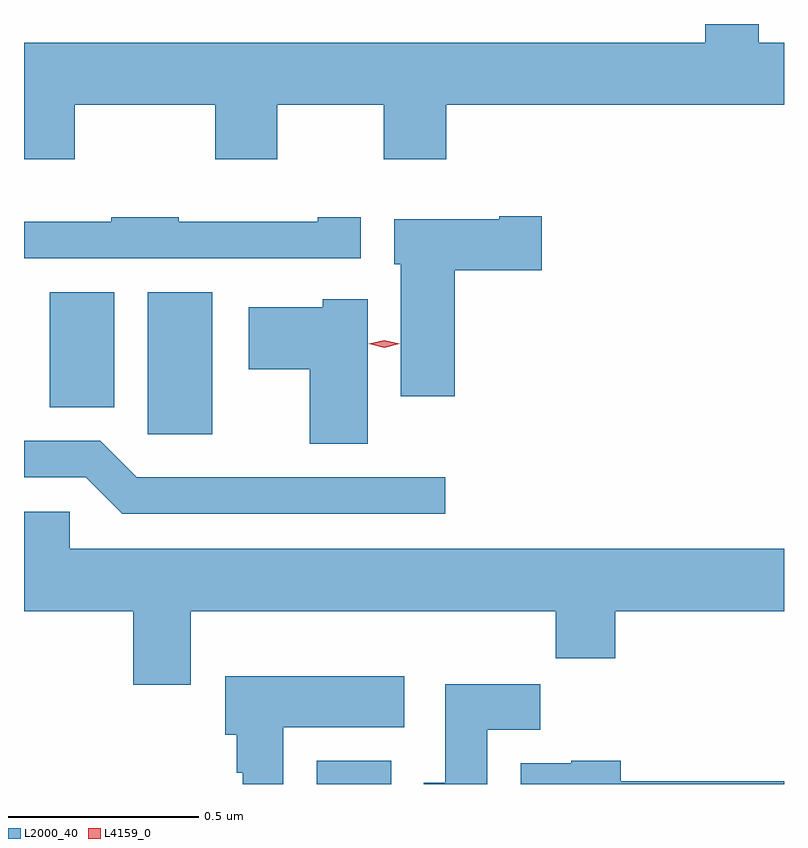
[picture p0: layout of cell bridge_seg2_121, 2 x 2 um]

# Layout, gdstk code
import gdstk
lib = gdstk.Library(unit=1e-6, precision=1e-09)
def R(c, l, rs):  # rectangles x0, y0, x1, y1
    for r in rs: c.add(gdstk.rectangle(r[:2], r[2:], *l))
def P(c, l, *ps):  # polygons
    for p in ps: c.add(gdstk.Polygon(p, *l))
L2000_40 = (2000, 40)
L4159_0 = (4159, 0)

bridge_seg2_121 = lib.new_cell('bridge_seg2_121')
R(bridge_seg2_121, L2000_40, [(471.5,627.201,471.697,627.262), (471.056,628.122,471.226,628.495), (470.798,628.193,470.968,628.495)])
P(bridge_seg2_121, L2000_40, [(470.863,628.988),(471.233,628.988),(471.233,628.845),(471.397,628.845),(471.397,628.988),(471.677,628.988),(471.677,628.845),(471.841,628.845),(471.841,628.988),(472.73,628.988),(472.73,629.152),(472.663,629.152),(472.663,629.201),(472.523,629.201),(472.523,629.152),(470.73,629.152),(470.73,628.845),(470.863,628.845)],
  [(471.863,628.553),(472.093,628.553),(472.093,628.695),(471.98,628.695),(471.98,628.687),(471.704,628.687),(471.704,628.569),(471.722,628.569),(471.722,628.221),(471.863,628.221)],
  [(471.616,628.693),(471.503,628.693),(471.503,628.681),(471.137,628.681),(471.137,628.693),(470.959,628.693),(470.959,628.681),(470.73,628.681),(470.73,628.584),(471.616,628.584)],
  [(471.634,628.477),(471.516,628.477),(471.516,628.456),(471.321,628.456),(471.321,628.292),(471.482,628.292),(471.482,628.097),(471.634,628.097)],
  [(471.838,628.008),(471.027,628.008),(470.931,628.104),(470.73,628.104),(470.73,628.008),(470.892,628.008),(470.988,627.912),(471.838,627.912)],
  [(471.169,627.656),(472.129,627.656),(472.129,627.532),(472.286,627.532),(472.286,627.656),(472.73,627.656),(472.73,627.82),(470.85,627.82),(470.85,627.918),(470.73,627.918),(470.73,627.656),(471.017,627.656),(471.017,627.462),(471.169,627.462)],
  [(471.412,627.35),(471.73,627.35),(471.73,627.484),(471.26,627.484),(471.26,627.33),(471.29,627.33),(471.29,627.23),(471.305,627.23),(471.305,627.201),(471.412,627.201)],
  [(471.949,627.344),(472.088,627.344),(472.088,627.463),(471.839,627.463),(471.839,627.204),(471.782,627.204),(471.782,627.201),(471.949,627.201)],
  [(472.73,627.208),(472.301,627.208),(472.301,627.262),(472.17,627.262),(472.17,627.256),(472.037,627.256),(472.037,627.201),(472.73,627.201)])
P(bridge_seg2_121, L4159_0, [(471.678,628.349),(471.637,628.359),(471.637,628.359),(471.637,628.359),(471.678,628.369),(471.719,628.36),(471.719,628.36),(471.719,628.359)])

lib.write_gds('bridge_seg2_121.gds')
